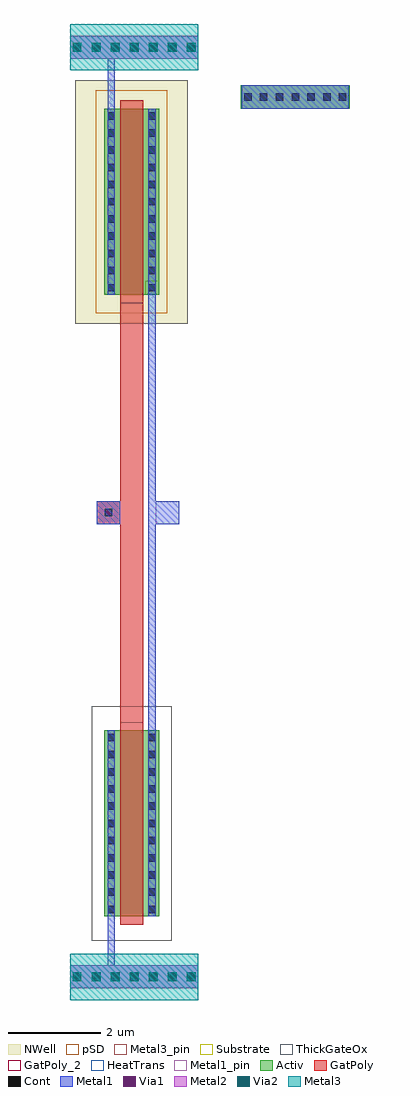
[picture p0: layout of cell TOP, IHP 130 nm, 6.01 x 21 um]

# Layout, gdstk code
import gdstk
lib = gdstk.Library(unit=1e-6, precision=1e-09)
def R(c, l, rs):  # rectangles x0, y0, x1, y1
    for r in rs: c.add(gdstk.rectangle(r[:2], r[2:], *l))
def A(c, l, x, y, w, h, nx, ny, dx, dy):  # array of equal rectangles
    R(c, l, [(x+i*dx, y+j*dy, x+i*dx+w, y+j*dy+h) for i in range(nx) for j in range(ny)])
Activ = (1, 0)
GatPoly = (5, 0)
GatPoly_2 = (5, 2)
Cont = (6, 0)
Metal1 = (8, 0)
Metal1_pin = (8, 2)
Metal2 = (10, 0)
pSD = (14, 0)
Via1 = (19, 0)
Via2 = (29, 0)
Metal3 = (30, 0)
Metal3_pin = (30, 2)
NWell = (31, 0)
Substrate = (40, 0)
ThickGateOx = (44, 0)
HeatTrans = (51, 0)

nmoshv_1 = lib.new_cell('nmosHV$1')
R(nmoshv_1, Activ, [(0,0,0.3,0.3), (0,0,1.18,4), (0.88,0,1.18,0.3)])
R(nmoshv_1, GatPoly, [(0.34,-0.18,0.84,4.18)])
R(nmoshv_1, GatPoly_2, [(0.34,-0.18,0.84,4.18)])
A(nmoshv_1, Cont, 0.07, 0.07, 0.16, 0.16, 1, 11, 0, 0.37)
A(nmoshv_1, Cont, 0.95, 0.07, 0.16, 0.16, 1, 11, 0, 0.37)
R(nmoshv_1, Metal1, [(0.07,0,0.23,4), (0.95,0,1.11,4)])
R(nmoshv_1, Metal1_pin, [(0.07,0,0.23,4), (0.95,0,1.11,4)])
R(nmoshv_1, ThickGateOx, [(-0.27,-0.52,1.45,4.52)])
R(nmoshv_1, HeatTrans, [(0.34,-0.18,0.84,4.18)])
nmoshv_1.add(gdstk.Label('nmosHV', (0.59,2), layer=63, texttype=0))
nmoshv_1.add(gdstk.Label('nmosHV', (0.59,2), layer=51, texttype=0))

pmoshv_1 = lib.new_cell('pmosHV$1')
R(pmoshv_1, Activ, [(0,0,0.3,0.3), (0,0,1.18,4), (0.88,0,1.18,0.3)])
R(pmoshv_1, GatPoly, [(0.34,-0.18,0.84,4.18)])
R(pmoshv_1, GatPoly_2, [(0.34,-0.18,0.84,4.18)])
A(pmoshv_1, Cont, 0.07, 0.07, 0.16, 0.16, 1, 11, 0, 0.37)
A(pmoshv_1, Cont, 0.95, 0.07, 0.16, 0.16, 1, 11, 0, 0.37)
R(pmoshv_1, Metal1, [(0.07,0,0.23,4), (0.95,0,1.11,4)])
R(pmoshv_1, Metal1_pin, [(0.07,0,0.23,4), (0.95,0,1.11,4)])
R(pmoshv_1, pSD, [(-0.18,-0.4,1.36,4.4)])
R(pmoshv_1, NWell, [(-0.62,-0.62,1.8,4.62)])
R(pmoshv_1, Substrate, [(0.88,0,1.18,0.3)])
R(pmoshv_1, ThickGateOx, [(-0.62,-0.62,1.8,4.62)])
R(pmoshv_1, HeatTrans, [(0.34,-0.18,0.84,4.18)])
pmoshv_1.add(gdstk.Label('pmosHV', (0.59,2), layer=63, texttype=0))
pmoshv_1.add(gdstk.Label('pmos', (0.59,2), layer=51, texttype=0))

via_5 = lib.new_cell('Via$5')
R(via_5, Metal2, [(-1.375,-0.25,1.375,0.25)])
A(via_5, Via2, -1.325, -0.095, 0.19, 0.19, 7, 1, 0.41, 0)
R(via_5, Metal3, [(-1.375,-0.25,1.375,0.25)])

via_3 = lib.new_cell('Via$3')
R(via_3, Metal1, [(-1.375,-0.25,1.375,0.25)])
R(via_3, Metal2, [(-1.375,-0.25,1.375,0.25)])
A(via_3, Via1, -1.325, -0.095, 0.19, 0.19, 7, 1, 0.41, 0)

via_2 = lib.new_cell('Via$2')
R(via_2, GatPoly, [(-0.25,-0.25,0.25,0.25)])
R(via_2, Cont, [(-0.08,-0.08,0.08,0.08)])
R(via_2, Metal1, [(-0.25,-0.25,0.25,0.25)])

inv1 = lib.new_cell('inv1')
R(inv1, GatPoly, [(1.07,5.48,1.57,14.495)])
R(inv1, Metal1, [(0.8,-0.25,0.96,5.3), (1.68,1.3,1.84,18.675), (1.84,9.735,2.34,10.235), (0.8,14.675,0.96,20.25)])
R(inv1, Metal1_pin, [(0.57,9.735,1.07,10.235), (1.84,9.735,2.34,10.235)])
R(inv1, Metal3, [(0,-0.5,2.75,0.5), (0,19.5,2.75,20.5)])
R(inv1, Metal3_pin, [(0,-0.5,2.75,0.5), (0,19.5,2.75,20.5)])
inv1.add(gdstk.Reference(nmoshv_1, (0.73,1.3)))
inv1.add(gdstk.Reference(pmoshv_1, (0.73,14.675)))
inv1.add(gdstk.Reference(via_5, (1.375,20)))
inv1.add(gdstk.Reference(via_3, (1.375,20)))
inv1.add(gdstk.Reference(via_3, (1.375,0)))
inv1.add(gdstk.Reference(via_5, (1.375,0)))
inv1.add(gdstk.Reference(via_2, (0.82,9.985)))
inv1.add(gdstk.Label('VDD', (1.234,20.419), layer=30, texttype=25))
inv1.add(gdstk.Label('VSS', (1.698,-0.452), layer=30, texttype=25))
inv1.add(gdstk.Label('out', (2.09,9.985), layer=8, texttype=25))
inv1.add(gdstk.Label('in', (0.82,9.985), layer=8, texttype=25))

via = lib.new_cell('Via')
R(via, Activ, [(-1.17,-0.25,1.17,0.25)])
A(via, Cont, -1.1, -0.08, 0.16, 0.16, 7, 1, 0.34, 0)
R(via, Metal1, [(-1.15,-0.25,1.15,0.25)])

top = lib.new_cell('TOP')
top.add(gdstk.Reference(inv1, (0,0)))
top.add(gdstk.Reference(via, (4.84,18.93)))

lib.write_gds('TOP.gds')
